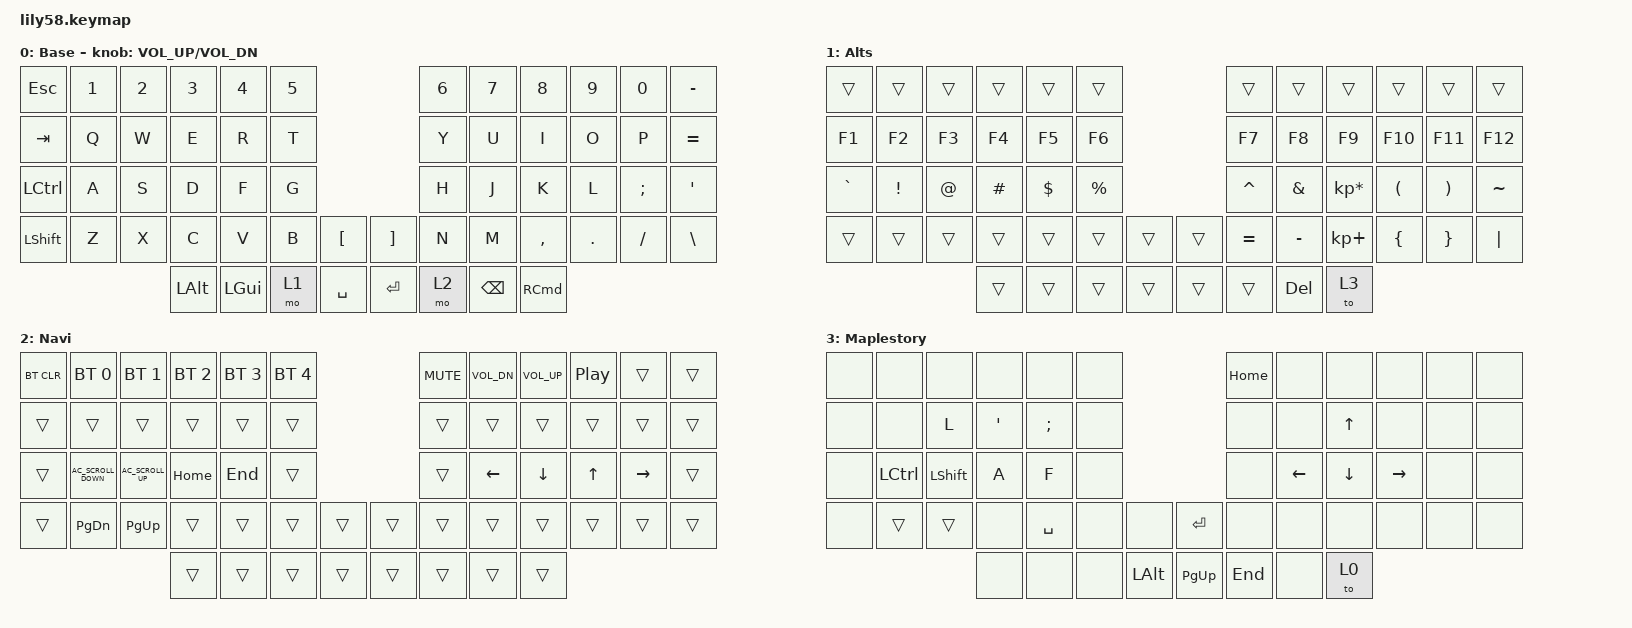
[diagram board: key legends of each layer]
/*
 * Copyright (c) 2020 The ZMK Contributors
 *
 * SPDX-License-Identifier: MIT
 */

#include <behaviors.dtsi>
#include <dt-bindings/zmk/bt.h>
#include <dt-bindings/zmk/keys.h>

/ {
    keymap {
        compatible = "zmk,keymap";

        Base {
            // ------------------------------------------------------------------------------------------------------------
            // |  ESC  |  1  |  2  |  3   |  4   |  5   |                   |  6   |  7    |  8    |  9   |   0   |   `   |
            // |  TAB  |  Q  |  W  |  E   |  R   |  T   |                   |  Y   |  U    |  I    |  O   |   P   |   -   |
            // |  CTRL |  A  |  S  |  D   |  F   |  G   |                   |  H   |  J    |  K    |  L   |   ;   |   '   |
            // | SHIFT |  Z  |  X  |  C   |  V   |  B   |   "["  |  |  "]"  |  N   |  M    |  ,    |  .   |   /   | SHIFT |
            //                     | ALT  | GUI  | LOWER|  SPACE |  | ENTER | RAISE| BSPC  | GUI   |

            display-name = "Base";
            bindings = <
&kp ESC    &kp N1  &kp N2  &kp N3    &kp N4    &kp N5                         &kp N6  &kp N7    &kp N8             &kp N9   &kp N0    &kp MINUS
&kp TAB    &kp Q   &kp W   &kp E     &kp R     &kp T                          &kp Y   &kp U     &kp I              &kp O    &kp P     &kp EQUAL
&kp LCTRL  &kp A   &kp S   &kp D     &kp F     &kp G                          &kp H   &kp J     &kp K              &kp L    &kp SEMI  &kp SQT
&kp LSHFT  &kp Z   &kp X   &kp C     &kp V     &kp B   &kp LBKT     &kp RBKT  &kp N   &kp M     &kp COMMA          &kp DOT  &kp FSLH  &kp BACKSLASH
                           &kp LALT  &kp LGUI  &mo 1   &kp SPACE    &kp RET   &mo 2   &kp BSPC  &kp RIGHT_COMMAND
            >;

            sensor-bindings = <&inc_dec_kp C_VOL_UP C_VOL_DN>;
        };

        Alternates {
            // ------------------------------------------------------------------------------------------------------------
            // | BTCLR | BT1 | BT2 |  BT3 |  BT4 |  BT5 |                   |      |       |       |      |       |       |
            // |  F1   |  F2 |  F3 |  F4  |  F5  |  F6  |                   |  F7  |  F8   |  F9   |  F10 |  F11  |  F12  |
            // |   `   |  !  |  @  |  #   |  $   |  %   |                   |  ^   |  &    |  *    |  (   |   )   |   ~   |
            // |       |     |     |      |      |      |        |  |       |      |  _    |  +    |  {   |   }   |  "|"  |
            //                     |      |      |      |        |  |       |      |       |       |

            display-name = "Alts";
            bindings = <
&trans     &trans    &trans  &trans    &trans      &trans                       &trans     &trans     &trans           &trans    &trans    &trans
&kp F1     &kp F2    &kp F3  &kp F4    &kp F5      &kp F6                       &kp F7     &kp F8     &kp F9           &kp F10   &kp F11   &kp F12
&kp GRAVE  &kp EXCL  &kp AT  &kp HASH  &kp DOLLAR  &kp PRCNT                    &kp CARET  &kp AMPS   &kp KP_MULTIPLY  &kp LPAR  &kp RPAR  &kp TILDE
&trans     &trans    &trans  &trans    &trans      &trans     &trans    &trans  &kp EQUAL  &kp MINUS  &kp KP_PLUS      &kp LBRC  &kp RBRC  &kp PIPE
                             &trans    &trans      &trans     &trans    &trans  &trans     &kp DEL    &to 3
            >;
        };

        Navigation {
            // ------------------------------------------------------------------------------------------------------------
            // |       |     |     |      |      |      |                   |      |       |       |      |       |       |
            // |   `   |  1  |  2  |  3   |  4   |  5   |                   |  6   |   7   |   8   |  9   |   0   |       |
            // |   F1  |  F2 |  F3 |  F4  |  F5  |  F6  |                   |      |   <-  |   v   |  ^   |  ->   |       |
            // |   F7  |  F8 |  F9 |  F10 |  F11 |  F12 |        |  |       |  +   |   -   |   =   |  [   |   ]   |   \   |
            //                     |      |      |      |        |  |       |      |       |       |

            display-name = "Navi";
            bindings = <
&bt BT_CLR  &bt BT_SEL 0          &bt BT_SEL 1        &bt BT_SEL 2  &bt BT_SEL 3  &bt BT_SEL 4                    &kp C_MUTE  &kp C_VOL_DN  &kp C_VOLUME_UP  &kp C_PLAY_PAUSE  &trans     &trans
&trans      &trans                &trans              &trans        &trans        &trans                          &trans      &trans        &trans           &trans            &trans     &trans
&trans      &kp C_AC_SCROLL_DOWN  &kp C_AC_SCROLL_UP  &kp HOME      &kp END       &trans                          &trans      &kp LEFT      &kp DOWN         &kp UP            &kp RIGHT  &trans
&trans      &kp PAGE_DOWN         &kp PG_UP           &trans        &trans        &trans        &trans    &trans  &trans      &trans        &trans           &trans            &trans     &trans
                                                      &trans        &trans        &trans        &trans    &trans  &trans      &trans        &trans
            >;
        };

        Maplestory {
            bindings = <
&none  &none      &none      &none           &none      &none                               &kp HOME  &none     &none     &none      &none  &none
&none  &none      &kp L      &kp APOSTROPHE  &kp SEMI   &none                               &none     &none     &kp UP    &none      &none  &none
&none  &kp LCTRL  &kp LSHFT  &kp A           &kp F      &none                               &none     &kp LEFT  &kp DOWN  &kp RIGHT  &none  &none
&none  &trans     &trans     &none           &kp SPACE  &none  &none           &kp ENTER    &none     &none     &none     &none      &none  &none
                             &none           &none      &none  &kp LEFT_ALT    &kp PAGE_UP  &kp END   &none     &to 0
            >;
        };
    };
};
